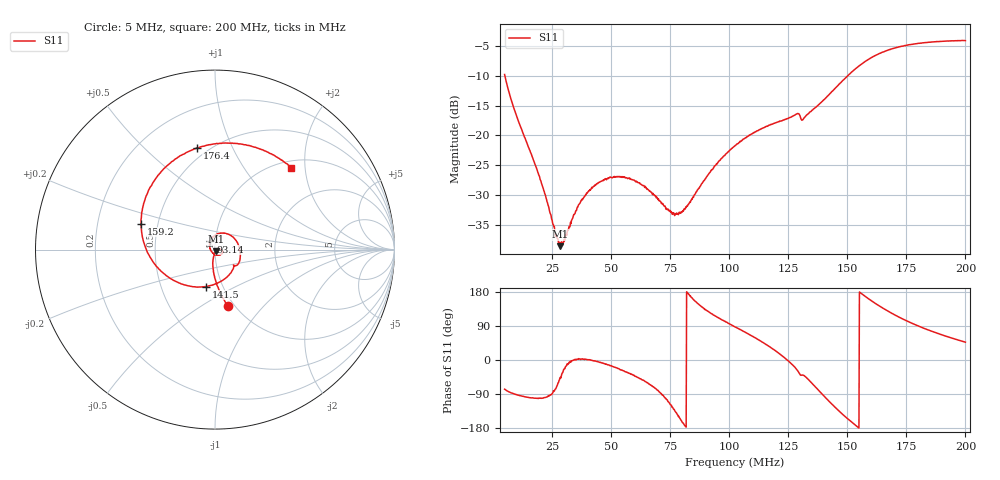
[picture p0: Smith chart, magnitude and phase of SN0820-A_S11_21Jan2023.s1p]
# Hz S DB R 50
! CMT, M5045, 22160017, 22.4.3/2
! Date: 1/21/2023 19:58:59
! Data: Format (Calibration Info)
! Freq	S11:dB/Ang(F1)
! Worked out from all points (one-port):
!   1001 points, 5 MHz to 200 MHz, reference 50 ohm
!   lowest |S11| = -38.6 dB at 28.59 MHz (marker M1), VSWR 1.02, Z = 50.8 - j0.858 ohm
!   |S11| at or under -10 dB: 5.107 MHz to 150.3 MHz (145.1 MHz wide, 187 % of centre)
!   S11 on the Smith chart (normalised r, x): 5 MHz: 0.93, -0.66; 93.14 MHz: 0.95, +0.09; 141.5 MHz: 0.83, -0.36; 159.2 MHz: 0.40, +0.14; 176.4 MHz: 0.44, +0.74; 200 MHz: 1.14, +1.69
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5000000  -9.80 -76.9
8510000  -14.96 -88.2
1.2995e7  -19.84 -96.1
1.943e7  -26.60 -101.1
2.723e7  -37.23 -67.9
2.8595e7  -38.57 -45.7
2.9375e7  -38.39 -34.3
3.6005e7  -32.00 2.2
4.01e7  -29.57 0.7
4.673e7  -27.48 -8.8
5.375e7  -26.98 -24.7
6.2915e7  -28.25 -51.6
7.8125e7  -33.09 -144.3
8.2025e7  -31.91 180.0
9.314e7  -25.64 119.9
1.025e8  -21.71 87.3
1.1537e8  -18.61 42.1
1.26875e8  -16.77 -12.8
1.31555e8  -17.18 -40.5
1.415e8  -13.46 -103.7
1.46375e8  -11.50 -133.8
1.5125e8  -9.62 -160.6
1.59245e8  -7.20 160.6
1.6607e8  -5.89 133.2
1.75625e8  -4.85 102.0
1.76405e8  -4.80 99.8
1.8674e8  -4.31 73.7
2e8  -4.12 47.1
